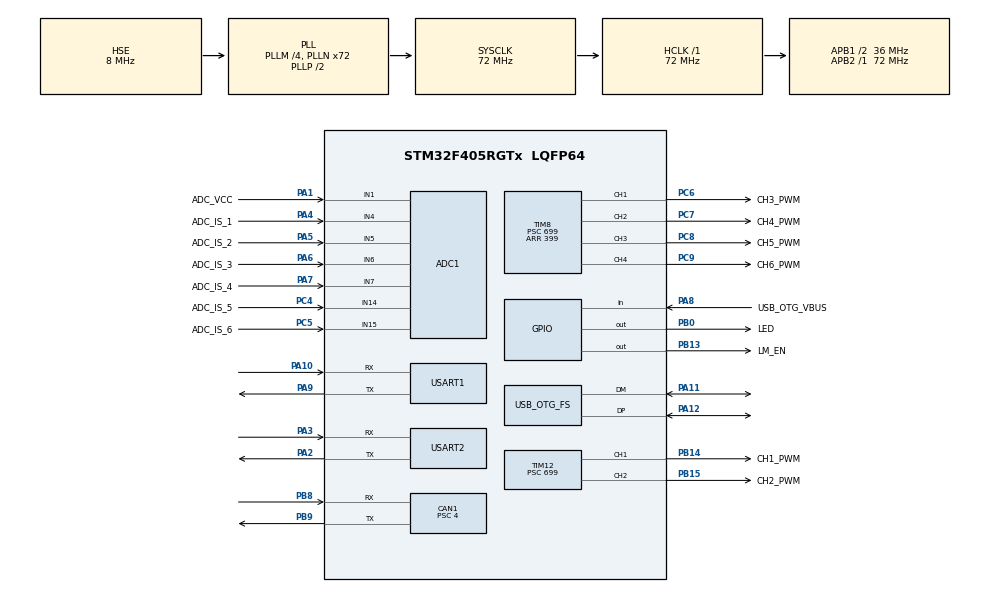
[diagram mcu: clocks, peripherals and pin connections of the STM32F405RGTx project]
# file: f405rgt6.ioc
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ADC1.Channel-10\#ChannelRegularConversion=ADC_CHANNEL_VREFINT
ADC1.Channel-2\#ChannelRegularConversion=ADC_CHANNEL_1
ADC1.Channel-3\#ChannelRegularConversion=ADC_CHANNEL_4
ADC1.Channel-4\#ChannelRegularConversion=ADC_CHANNEL_5
ADC1.Channel-5\#ChannelRegularConversion=ADC_CHANNEL_6
ADC1.Channel-6\#ChannelRegularConversion=ADC_CHANNEL_7
ADC1.Channel-7\#ChannelRegularConversion=ADC_CHANNEL_14
ADC1.Channel-8\#ChannelRegularConversion=ADC_CHANNEL_15
ADC1.Channel-9\#ChannelRegularConversion=ADC_CHANNEL_TEMPSENSOR
ADC1.DMAContinuousRequests=ENABLE
ADC1.EOCSelection=ADC_EOC_SEQ_CONV
ADC1.ExternalTrigConv=ADC_EXTERNALTRIGCONV_T3_TRGO
ADC1.NbrOfConversion=9
ADC1.NbrOfConversionFlag=1
ADC1.Rank-10\#ChannelRegularConversion=9
ADC1.Rank-2\#ChannelRegularConversion=1
ADC1.Rank-3\#ChannelRegularConversion=2
ADC1.Rank-4\#ChannelRegularConversion=3
ADC1.Rank-5\#ChannelRegularConversion=4
ADC1.Rank-6\#ChannelRegularConversion=5
ADC1.Rank-7\#ChannelRegularConversion=6
ADC1.Rank-8\#ChannelRegularConversion=7
ADC1.Rank-9\#ChannelRegularConversion=8
ADC1.SamplingTime-10\#ChannelRegularConversion=ADC_SAMPLETIME_15CYCLES
ADC1.SamplingTime-2\#ChannelRegularConversion=ADC_SAMPLETIME_15CYCLES
ADC1.SamplingTime-3\#ChannelRegularConversion=ADC_SAMPLETIME_15CYCLES
ADC1.SamplingTime-4\#ChannelRegularConversion=ADC_SAMPLETIME_15CYCLES
ADC1.SamplingTime-5\#ChannelRegularConversion=ADC_SAMPLETIME_15CYCLES
ADC1.SamplingTime-6\#ChannelRegularConversion=ADC_SAMPLETIME_15CYCLES
ADC1.SamplingTime-7\#ChannelRegularConversion=ADC_SAMPLETIME_15CYCLES
ADC1.SamplingTime-8\#ChannelRegularConversion=ADC_SAMPLETIME_15CYCLES
ADC1.SamplingTime-9\#ChannelRegularConversion=ADC_SAMPLETIME_15CYCLES
ADC1.ScanConvMode=ENABLE
ADC1.master=1
CAN1.ABOM=ENABLE
CAN1.AWUM=ENABLE
CAN1.BS1=CAN_BS1_14TQ
CAN1.BS2=CAN_BS2_3TQ
CAN1.CalculateBaudRate=500000
CAN1.CalculateTimeBit=2000
CAN1.CalculateTimeQuantum=111.11111111111111
CAN1.Mode=CAN_MODE_SILENT
CAN1.Prescaler=4
CAN1.SJW=CAN_SJW_1TQ
Dma.ADC1.0.Direction=DMA_PERIPH_TO_MEMORY
Dma.ADC1.0.FIFOMode=DMA_FIFOMODE_DISABLE
Dma.ADC1.0.Instance=DMA2_Stream0
Dma.ADC1.0.MemDataAlignment=DMA_MDATAALIGN_HALFWORD
Dma.ADC1.0.MemInc=DMA_MINC_ENABLE
Dma.ADC1.0.Mode=DMA_CIRCULAR
Dma.ADC1.0.PeriphDataAlignment=DMA_PDATAALIGN_HALFWORD
Dma.ADC1.0.PeriphInc=DMA_PINC_DISABLE
Dma.ADC1.0.Priority=DMA_PRIORITY_LOW
Dma.Request0=ADC1
IWDG.Prescaler=IWDG_PRESCALER_32
IWDG.Reload=100
Mcu.Family=STM32F4
Mcu.Name=STM32F405RGTx
Mcu.Package=LQFP64
NVIC.CAN1_RX0_IRQn=true\:0\:0\:false\:false\:true\:true\:true\:true
NVIC.DMA2_Stream0_IRQn=true\:0\:0\:false\:false\:true\:false\:true\:true
NVIC.OTG_FS_IRQn=true\:0\:0\:false\:false\:true\:false\:true\:true
NVIC.PriorityGroup=NVIC_PRIORITYGROUP_4
NVIC.TIM2_IRQn=true\:0\:0\:false\:false\:true\:true\:true\:true
NVIC.TIM3_IRQn=true\:0\:0\:false\:false\:true\:true\:true\:true
NimaLTD.I-CUBE-EE.3.2.2.EE_MANUAL_CONFIG=true
NimaLTD.I-CUBE-EE.3.2.2.EE_SELECTED_ADDRESS=0x080C0000
NimaLTD.I-CUBE-EE.3.2.2.EE_SELECTED_PAGE_SECTOR_SIZE=EE_PAGE_SECTOR_SIZE_128K
PA1.GPIO_Label=ADC_VCC
PA1.Signal=ADCx_IN1
PA10.Mode=Asynchronous
PA10.Signal=USART1_RX
PA11.Mode=Device_Only
PA11.Signal=USB_OTG_FS_DM
PA12.Mode=Device_Only
PA12.Signal=USB_OTG_FS_DP
PA13.Mode=Trace_Asynchronous_SW
PA13.Signal=SYS_JTMS-SWDIO
PA14.Mode=Trace_Asynchronous_SW
PA14.Signal=SYS_JTCK-SWCLK
PA2.Mode=Asynchronous
PA2.Signal=USART2_TX
PA3.Mode=Asynchronous
PA3.Signal=USART2_RX
PA4.GPIO_Label=ADC_IS_1
PA4.Signal=ADCx_IN4
PA5.GPIO_Label=ADC_IS_2
PA5.Signal=ADCx_IN5
PA6.GPIO_Label=ADC_IS_3
PA6.Signal=ADCx_IN6
PA7.GPIO_Label=ADC_IS_4
PA7.Signal=ADCx_IN7
PA8.GPIO_Label=USB_OTG_VBUS
PA8.Signal=GPIO_Input
PA9.Mode=Asynchronous
PA9.Signal=USART1_TX
PB0.GPIO_Label=LED
PB0.Signal=GPIO_Output
PB13.GPIO_Label=LM_EN
PB13.Signal=GPIO_Output
PB14.GPIO_Label=CH1_PWM
PB14.Signal=S_TIM12_CH1
PB15.GPIO_Label=CH2_PWM
PB15.Signal=S_TIM12_CH2
PB3.Mode=Trace_Asynchronous_SW
PB3.Signal=SYS_JTDO-SWO
PB8.Mode=CAN_Activate
PB8.Signal=CAN1_RX
PB9.Mode=CAN_Activate
PB9.Signal=CAN1_TX
PC4.GPIO_Label=ADC_IS_5
PC4.Signal=ADCx_IN14
PC5.GPIO_Label=ADC_IS_6
PC5.Signal=ADCx_IN15
PC6.GPIO_Label=CH3_PWM
PC6.GPIO_PuPd=GPIO_NOPULL
PC6.Signal=S_TIM8_CH1
PC7.GPIO_Label=CH4_PWM
PC7.Signal=S_TIM8_CH2
PC8.GPIO_Label=CH5_PWM
PC8.Signal=S_TIM8_CH3
PC9.GPIO_Label=CH6_PWM
PC9.Signal=S_TIM8_CH4
PH0-OSC_IN.Mode=HSE-External-Oscillator
PH0-OSC_IN.Signal=RCC_OSC_IN
PH1-OSC_OUT.Mode=HSE-External-Oscillator
PH1-OSC_OUT.Signal=RCC_OSC_OUT
ProjectManager.HeapSize=0x200
ProjectManager.StackSize=0x400
ProjectManager.TargetToolchain=STM32CubeIDE
RCC.48MHZClocksFreq_Value=48000000
RCC.AHBFreq_Value=72000000
RCC.APB1CLKDivider=RCC_HCLK_DIV2
RCC.APB1Freq_Value=36000000
RCC.APB1TimFreq_Value=72000000
RCC.APB2Freq_Value=72000000
RCC.APB2TimFreq_Value=72000000
RCC.CortexFreq_Value=72000000
RCC.HCLKFreq_Value=72000000
RCC.HSE_VALUE=8000000
RCC.HSI_VALUE=16000000
RCC.LSE_VALUE=32768
RCC.PLLM=4
RCC.PLLN=72
RCC.PLLQ=3
RCC.SYSCLKFreq_VALUE=72000000
RCC.SYSCLKSource=RCC_SYSCLKSOURCE_PLLCLK
RCC.VCOOutputFreq_Value=144000000
SH.ADCx_IN1.0=ADC1_IN1,IN1
SH.ADCx_IN14.0=ADC1_IN14,IN14
SH.ADCx_IN15.0=ADC1_IN15,IN15
SH.ADCx_IN4.0=ADC1_IN4,IN4
SH.ADCx_IN5.0=ADC1_IN5,IN5
SH.ADCx_IN6.0=ADC1_IN6,IN6
SH.ADCx_IN7.0=ADC1_IN7,IN7
SH.S_TIM12_CH1.0=TIM12_CH1,PWM Generation1 CH1
SH.S_TIM12_CH2.0=TIM12_CH2,PWM Generation2 CH2
SH.S_TIM8_CH1.0=TIM8_CH1,PWM Generation1 CH1
SH.S_TIM8_CH2.0=TIM8_CH2,PWM Generation2 CH2
SH.S_TIM8_CH3.0=TIM8_CH3,PWM Generation3 CH3
SH.S_TIM8_CH4.0=TIM8_CH4,PWM Generation4 CH4
TIM12.Channel-PWM\ Generation1\ CH1=TIM_CHANNEL_1
TIM12.Channel-PWM\ Generation2\ CH2=TIM_CHANNEL_2
TIM12.Period=399
TIM12.Prescaler=699
TIM2.Period=1999
TIM2.Prescaler=35999
TIM3.Period=199
TIM3.Prescaler=359
TIM3.TIM_MasterOutputTrigger=TIM_TRGO_UPDATE
TIM3.TIM_MasterSlaveMode=TIM_MASTERSLAVEMODE_DISABLE
TIM8.Channel-PWM\ Generation1\ CH1=TIM_CHANNEL_1
TIM8.Channel-PWM\ Generation2\ CH2=TIM_CHANNEL_2
TIM8.Channel-PWM\ Generation3\ CH3=TIM_CHANNEL_3
TIM8.Channel-PWM\ Generation4\ CH4=TIM_CHANNEL_4
TIM8.Period=399
TIM8.Prescaler=699
USART1.VirtualMode=VM_ASYNC
USART2.VirtualMode=VM_ASYNC
USB_DEVICE.CLASS_NAME_FS=CDC
USB_DEVICE.VirtualMode-CDC_FS=Cdc
USB_DEVICE.VirtualModeFS=Cdc_FS
USB_OTG_FS.VirtualMode=Device_Only
VP_ADC1_TempSens_Input.Mode=IN-TempSens
VP_ADC1_Vref_Input.Mode=IN-Vrefint
VP_IWDG_VS_IWDG.Mode=IWDG_Activate
VP_TIM12_VS_ClockSourceINT.Mode=Internal
VP_TIM2_VS_ClockSourceINT.Mode=Internal
VP_TIM3_VS_ClockSourceINT.Mode=Internal
VP_TIM8_VS_ClockSourceINT.Mode=Internal
VP_USB_DEVICE_VS_USB_DEVICE_CDC_FS.Mode=CDC_FS
board=custom

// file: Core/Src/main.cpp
/* USER CODE BEGIN Header */
/**
  ******************************************************************************
  * @file           : main.c
  * @brief          : Main program body
  ******************************************************************************
  * @attention
  *
  * Copyright (c) 2025 STMicroelectronics.
  * All rights reserved.
  *
  * This software is licensed under terms that can be found in the LICENSE file
  * in the root directory of this software component.
  * If no LICENSE file comes with this software, it is provided AS-IS.
  *
  ******************************************************************************
  */
/* USER CODE END Header */
#include "main.h"
#include "usb_device.h"

/* USER CODE BEGIN Includes */

extern "C"
{
#ifdef __cplusplus
#include "header.h"
#endif
}
#include "settings.h"
#include "outputch.h"
#include "status.h"
#include "canHandler.h"

#include "usbd_cdc_if.h"
#include <string.h>
#include "stm32f4xx_hal.h"
#include "stm32f4xx_hal_can.h"

/* USER CODE END Includes */

/* USER CODE BEGIN PD */
#define RX_LENGHT 			512 				//все равно надо вручную прописать в usbd_cdc_if.h
//#define BYTES_AR_SIZE 		338					//размер передаваемой строки в байтах
#define FILTER				2					// = (filtered * FILTER + new_val)/ (FILTER + 1)
#define ADC_CHANNEL_COUNT 	9
#define VCC_COEFF			461
#define VREF_CAL *VREFINT_CAL_ADDR
/* USER CODE END PD */

ADC_HandleTypeDef hadc1;
DMA_HandleTypeDef hdma_adc1;

CAN_HandleTypeDef hcan1;

IWDG_HandleTypeDef hiwdg;

TIM_HandleTypeDef htim2;
TIM_HandleTypeDef htim3;
TIM_HandleTypeDef htim8;
TIM_HandleTypeDef htim12;

UART_HandleTypeDef huart1;
UART_HandleTypeDef huart2;

/* USER CODE BEGIN PV */
CAN_RxHeaderTypeDef rxCanHeader;
uint8_t rxCanData[8] = {0,};
uint8_t rxData[RX_LENGHT];			//данные с ком-порта;
uint16_t rxIndex = 0;				//указатель на элемент массива rxData для побайтового вычитывания из буфера ком-порта
Param param;
uint16_t 	secFromStart = 0,
			updTimer = 0;
uint32_t	msFromStart = 0;
uint8_t flagUpdCh = 0;

uint16_t adc_raw[ADC_CHANNEL_COUNT];        // Сырые значения из DMA
ADC_Data_t adc_filtered;					//структура с данными каналов

status currStatus;
canHandler canMsgHandler(&currStatus);

OutputCh* CH[6];					// Массив из 6 указателей на объекты OutputCh

/* USER CODE END PV */

void SystemClock_Config(void);
static void MX_GPIO_Init(void);
static void MX_DMA_Init(void);
static void MX_CAN1_Init(void);
static void MX_USART1_UART_Init(void);
static void MX_ADC1_Init(void);
static void MX_USART2_UART_Init(void);
static void MX_TIM2_Init(void);
static void MX_TIM3_Init(void);
static void MX_TIM8_Init(void);
static void MX_TIM12_Init(void);
static void MX_IWDG_Init(void);

/* USER CODE BEGIN 0 */

/**
  * @brief  Vector base address configuration. It should no longer be at the start of
  *         flash memory but moved forward because the first part of flash is
  *         reserved for the bootloader. Note that this is already done by the
  *         bootloader before starting this program. Unfortunately, function
  *         SystemInit() overwrites this change again.
  * @return none.
  */
static void VectorBase_Config(void)
{
  /* The constant array with vectors of the vector table is declared externally in the
   * c-startup code.
   */
  extern const unsigned long g_pfnVectors[];

  /* Remap the vector table to where the vector table is located for this program. */
  SCB->VTOR = (unsigned long)&g_pfnVectors[0];
}
/* USER CODE END 0 */

int main(void)
{
  /* USER CODE BEGIN 1 */
  /* Configure the vector table base address. */
  VectorBase_Config();
  __HAL_DBGMCU_FREEZE_IWDG();

  OutputCh CH0(GPIOB,  14, &htim12, &currStatus, 0);
  OutputCh CH1(GPIOB,  15, &htim12, &currStatus, 1);
  OutputCh CH2(GPIOC,  6, &htim8, &currStatus, 2);
  OutputCh CH3(GPIOC,  7, &htim8, &currStatus, 3);
  OutputCh CH4(GPIOC,  8, &htim8, &currStatus, 4);
  OutputCh CH5(GPIOC,  9, &htim8, &currStatus, 5);
  CH[0] = &CH0;
  CH[1] = &CH1;
  CH[2] = &CH2;
  CH[3] = &CH3;
  CH[4] = &CH4;
  CH[5] = &CH5;
  /* USER CODE END 1 */

  /* MCU Configuration--------------------------------------------------------*/

  /* Reset of all peripherals, Initializes the Flash interface and the Systick. */
  HAL_Init();

  /* Configure the system clock */
  SystemClock_Config();

  /* Initialize all configured peripherals */
  MX_GPIO_Init();
  MX_DMA_Init();
  MX_CAN1_Init();
  MX_USART1_UART_Init();
  MX_ADC1_Init();
  MX_USART2_UART_Init();
  MX_USB_DEVICE_Init();
  MX_TIM2_Init();
  MX_TIM3_Init();
  MX_TIM8_Init();
  MX_TIM12_Init();
  MX_IWDG_Init();
  /* USER CODE BEGIN 2 */
  /* Initialize the user program application. */
  AppInit();

//=============================================CAN CONFIG

  CAN_FilterTypeDef canFilterConfig;
  canFilterConfig.FilterBank = 0;
  canFilterConfig.FilterMode = CAN_FILTERMODE_IDLIST;
  canFilterConfig.FilterScale = CAN_FILTERSCALE_32BIT;
  canFilterConfig.FilterIdHigh = CANFILTER_1 << 5;				//устаенавливаем фильтра на ID сообщений CAN
  canFilterConfig.FilterIdLow = 0x0000;
  canFilterConfig.FilterMaskIdHigh = CANFILTER_2 << 5;
  canFilterConfig.FilterMaskIdLow = 0x0000;
  canFilterConfig.FilterFIFOAssignment = CAN_RX_FIFO0;
  canFilterConfig.FilterActivation = ENABLE;
  HAL_CAN_ConfigFilter(&hcan1, &canFilterConfig);

  canFilterConfig.FilterBank = 1;
  canFilterConfig.FilterIdHigh = CANFILTER_3 << 5;				//устаенавливаем фильтра на ID сообщений CAN
  canFilterConfig.FilterMaskIdHigh = CANFILTER_4 << 5;
  HAL_CAN_ConfigFilter(&hcan1, &canFilterConfig);

  canFilterConfig.FilterBank = 2;
  canFilterConfig.FilterIdHigh = CANFILTER_5 << 5;				//устаенавливаем фильтра на ID сообщений CAN
  canFilterConfig.FilterMaskIdHigh = CANFILTER_6 << 5;
  HAL_CAN_ConfigFilter(&hcan1, &canFilterConfig);

  canFilterConfig.FilterBank = 3;
  canFilterConfig.FilterIdHigh = CANFILTER_7 << 5;				//устаенавливаем фильтра на ID сообщений CAN
  canFilterConfig.FilterMaskIdHigh = CANFILTER_8 << 5;
  HAL_CAN_ConfigFilter(&hcan1, &canFilterConfig);

  canFilterConfig.FilterBank = 4;
  canFilterConfig.FilterIdHigh = CANFILTER_9 << 5;				//устаенавливаем фильтра на ID сообщений CAN
  canFilterConfig.FilterMaskIdHigh = CANFILTER_10 << 5;
  HAL_CAN_ConfigFilter(&hcan1, &canFilterConfig);

  canFilterConfig.FilterBank = 5;
  canFilterConfig.FilterIdHigh = CANFILTER_11 << 5;				//устаенавливаем фильтра на ID сообщений CAN
  canFilterConfig.FilterMaskIdHigh = CANFILTER_12 << 5;
  HAL_CAN_ConfigFilter(&hcan1, &canFilterConfig);

  HAL_CAN_Start(&hcan1);
  HAL_CAN_ActivateNotification(&hcan1, CAN_IT_RX_FIFO0_MSG_PENDING | CAN_IT_RX_FIFO1_MSG_PENDING);
  //=============================================CAN CONFIG END

  HAL_TIM_Base_Start_IT(&htim2);	//прерывания каждую секунду
  HAL_TIM_Base_Start_IT(&htim3);	//прерывания каждую мс

  HAL_ADC_Start_DMA(&hadc1, (uint32_t*)adc_raw, ADC_CHANNEL_COUNT);

  TIM8->CCR1 = 0;
  TIM8->CCR2 = 0;
  TIM8->CCR3 = 0;
  TIM8->CCR4 = 0;
  TIM12->CCR1 = 0;
  TIM12->CCR2 = 0;

  HAL_TIM_PWM_Start(&htim8, TIM_CHANNEL_1);
  HAL_TIM_PWM_Start(&htim8, TIM_CHANNEL_2);
  HAL_TIM_PWM_Start(&htim8, TIM_CHANNEL_3);
  HAL_TIM_PWM_Start(&htim8, TIM_CHANNEL_4);
  HAL_TIM_PWM_Start(&htim12, TIM_CHANNEL_1);
  HAL_TIM_PWM_Start(&htim12, TIM_CHANNEL_2);

  __enable_irq();

  HAL_GPIO_WritePin(GPIOB, LED_Pin, GPIO_PIN_SET);
  HAL_Delay(500);
  HAL_GPIO_WritePin(GPIOB, LED_Pin, GPIO_PIN_RESET);

//  param.saveToFlash();
  param.readFromFlash();

  setChSettings();
  /* USER CODE END 2 */

  /* Infinite loop */
  /* USER CODE BEGIN WHILE */
  HAL_PWR_EnterSLEEPMode(PWR_LOWPOWERREGULATOR_ON, PWR_SLEEPENTRY_WFI); //загоняем МК в спячку
  while (1)
  {
//    	CH[3]->turnOnCh();
//    	CH[4]->turnOnCh();
//    	CH[5]->turnOnCh();
//    	HAL_Delay(300);
//    	CH[5]->turnOffCh();
//    	CH[4]->turnOffCh();
//    	CH[3]->turnOffCh();
//    	HAL_Delay(300);

/*=================================================MAIN==============================================================*/

    /* USER CODE END WHILE */

    /* USER CODE BEGIN 3 */
//	  BootComCheckActivationRequest();
  }
  /* USER CODE END 3 */
}

void SystemClock_Config(void)
{
  RCC_OscInitTypeDef RCC_OscInitStruct = {0};
  RCC_ClkInitTypeDef RCC_ClkInitStruct = {0};

  /** Configure the main internal regulator output voltage
  */
  __HAL_RCC_PWR_CLK_ENABLE();
  __HAL_PWR_VOLTAGESCALING_CONFIG(PWR_REGULATOR_VOLTAGE_SCALE1);

  /** Initializes the RCC Oscillators according to the specified parameters
  * in the RCC_OscInitTypeDef structure.
  */
  RCC_OscInitStruct.OscillatorType = RCC_OSCILLATORTYPE_LSI|RCC_OSCILLATORTYPE_HSE;
  RCC_OscInitStruct.HSEState = RCC_HSE_ON;
  RCC_OscInitStruct.LSIState = RCC_LSI_ON;
  RCC_OscInitStruct.PLL.PLLState = RCC_PLL_ON;
  RCC_OscInitStruct.PLL.PLLSource = RCC_PLLSOURCE_HSE;
  RCC_OscInitStruct.PLL.PLLM = 4;
  RCC_OscInitStruct.PLL.PLLN = 72;
  RCC_OscInitStruct.PLL.PLLP = RCC_PLLP_DIV2;
  RCC_OscInitStruct.PLL.PLLQ = 3;
  if (HAL_RCC_OscConfig(&RCC_OscInitStruct) != HAL_OK)
  {
    Error_Handler();
  }

  /** Initializes the CPU, AHB and APB buses clocks
  */
  RCC_ClkInitStruct.ClockType = RCC_CLOCKTYPE_HCLK|RCC_CLOCKTYPE_SYSCLK
                              |RCC_CLOCKTYPE_PCLK1|RCC_CLOCKTYPE_PCLK2;
  RCC_ClkInitStruct.SYSCLKSource = RCC_SYSCLKSOURCE_PLLCLK;
  RCC_ClkInitStruct.AHBCLKDivider = RCC_SYSCLK_DIV1;
  RCC_ClkInitStruct.APB1CLKDivider = RCC_HCLK_DIV2;
  RCC_ClkInitStruct.APB2CLKDivider = RCC_HCLK_DIV1;

  if (HAL_RCC_ClockConfig(&RCC_ClkInitStruct, FLASH_LATENCY_2) != HAL_OK)
  {
    Error_Handler();
  }
}

static void MX_ADC1_Init(void)
{

  ADC_ChannelConfTypeDef sConfig = {0};

  /** Configure the global features of the ADC (Clock, Resolution, Data Alignment and number of conversion)
  */
  hadc1.Instance = ADC1;
  hadc1.Init.ClockPrescaler = ADC_CLOCK_SYNC_PCLK_DIV2;
  hadc1.Init.Resolution = ADC_RESOLUTION_12B;
  hadc1.Init.ScanConvMode = ENABLE;
  hadc1.Init.ContinuousConvMode = DISABLE;
  hadc1.Init.DiscontinuousConvMode = DISABLE;
  hadc1.Init.ExternalTrigConvEdge = ADC_EXTERNALTRIGCONVEDGE_RISING;
  hadc1.Init.ExternalTrigConv = ADC_EXTERNALTRIGCONV_T3_TRGO;
  hadc1.Init.DataAlign = ADC_DATAALIGN_RIGHT;
  hadc1.Init.NbrOfConversion = 9;
  hadc1.Init.DMAContinuousRequests = ENABLE;
  hadc1.Init.EOCSelection = ADC_EOC_SEQ_CONV;
  if (HAL_ADC_Init(&hadc1) != HAL_OK)
  {
    Error_Handler();
  }

  /** Configure for the selected ADC regular channel its corresponding rank in the sequencer and its sample time.
  */
  sConfig.Channel = ADC_CHANNEL_1;
  sConfig.Rank = 1;
  sConfig.SamplingTime = ADC_SAMPLETIME_15CYCLES;
  if (HAL_ADC_ConfigChannel(&hadc1, &sConfig) != HAL_OK)
  {
    Error_Handler();
  }

  /** Configure for the selected ADC regular channel its corresponding rank in the sequencer and its sample time.
  */
  sConfig.Channel = ADC_CHANNEL_4;
  sConfig.Rank = 2;
  if (HAL_ADC_ConfigChannel(&hadc1, &sConfig) != HAL_OK)
  {
    Error_Handler();
  }

  /** Configure for the selected ADC regular channel its corresponding rank in the sequencer and its sample time.
  */
  sConfig.Channel = ADC_CHANNEL_5;
  sConfig.Rank = 3;
  if (HAL_ADC_ConfigChannel(&hadc1, &sConfig) != HAL_OK)
  {
    Error_Handler();
  }

  /** Configure for the selected ADC regular channel its corresponding rank in the sequencer and its sample time.
  */
  sConfig.Channel = ADC_CHANNEL_6;
  sConfig.Rank = 4;
  if (HAL_ADC_ConfigChannel(&hadc1, &sConfig) != HAL_OK)
  {
    Error_Handler();
  }

  /** Configure for the selected ADC regular channel its corresponding rank in the sequencer and its sample time.
  */
  sConfig.Channel = ADC_CHANNEL_7;
  sConfig.Rank = 5;
  if (HAL_ADC_ConfigChannel(&hadc1, &sConfig) != HAL_OK)
  {
    Error_Handler();
  }

  /** Configure for the selected ADC regular channel its corresponding rank in the sequencer and its sample time.
  */
  sConfig.Channel = ADC_CHANNEL_14;
  sConfig.Rank = 6;
  if (HAL_ADC_ConfigChannel(&hadc1, &sConfig) != HAL_OK)
  {
    Error_Handler();
  }

  /** Configure for the selected ADC regular channel its corresponding rank in the sequencer and its sample time.
  */
  sConfig.Channel = ADC_CHANNEL_15;
  sConfig.Rank = 7;
  if (HAL_ADC_ConfigChannel(&hadc1, &sConfig) != HAL_OK)
  {
    Error_Handler();
  }

  /** Configure for the selected ADC regular channel its corresponding rank in the sequencer and its sample time.
  */
  sConfig.Channel = ADC_CHANNEL_TEMPSENSOR;
  sConfig.Rank = 8;
  if (HAL_ADC_ConfigChannel(&hadc1, &sConfig) != HAL_OK)
  {
    Error_Handler();
  }

  /** Configure for the selected ADC regular channel its corresponding rank in the sequencer and its sample time.
  */
  sConfig.Channel = ADC_CHANNEL_VREFINT;
  sConfig.Rank = 9;
  if (HAL_ADC_ConfigChannel(&hadc1, &sConfig) != HAL_OK)
  {
    Error_Handler();
  }

}

static void MX_CAN1_Init(void)
{

  /* USER CODE BEGIN CAN1_Init 0 */
	CAN_FilterTypeDef sFilterConfig; //хотя бы 1 фильтр должен быть, иначе не заведется
  /* USER CODE END CAN1_Init 0 */

  hcan1.Instance = CAN1;
  hcan1.Init.Prescaler = 4;
  hcan1.Init.Mode = CAN_MODE_SILENT;
  hcan1.Init.SyncJumpWidth = CAN_SJW_1TQ;
  hcan1.Init.TimeSeg1 = CAN_BS1_14TQ;
  hcan1.Init.TimeSeg2 = CAN_BS2_3TQ;
  hcan1.Init.TimeTriggeredMode = DISABLE;
  hcan1.Init.AutoBusOff = ENABLE;
  hcan1.Init.AutoWakeUp = ENABLE;
  hcan1.Init.AutoRetransmission = DISABLE;
  hcan1.Init.ReceiveFifoLocked = DISABLE;
  hcan1.Init.TransmitFifoPriority = DISABLE;
  if (HAL_CAN_Init(&hcan1) != HAL_OK)
  {
    Error_Handler();
  }
  /* USER CODE BEGIN CAN1_Init 2 */
  /*
   * параметры фильтра, настроенные на прием любого сообщ-я
   */
  sFilterConfig.FilterBank = 0;
  sFilterConfig.FilterMode = CAN_FILTERMODE_IDLIST;
  sFilterConfig.FilterScale = CAN_FILTERSCALE_32BIT;
  sFilterConfig.FilterIdHigh = CANFILTER_1 << 5;
  sFilterConfig.FilterIdLow = 0x0000;
  sFilterConfig.FilterMaskIdHigh = CANFILTER_2 << 5;
  sFilterConfig.FilterMaskIdLow = 0x0000;
  sFilterConfig.FilterFIFOAssignment = CAN_RX_FIFO0;
  sFilterConfig.FilterActivation = ENABLE;
  //sFilterConfig.SlaveStartFilterBank = 14;
  if (HAL_CAN_ConfigFilter(&hcan1, &sFilterConfig) != HAL_OK)
  {
	  Error_Handler();
  }
  /* USER CODE END CAN1_Init 2 */

}

static void MX_IWDG_Init(void)
{

  hiwdg.Instance = IWDG;
  hiwdg.Init.Prescaler = IWDG_PRESCALER_32;
  hiwdg.Init.Reload = 100;
  if (HAL_IWDG_Init(&hiwdg) != HAL_OK)
  {
    Error_Handler();
  }

}

static void MX_TIM2_Init(void)
{

  TIM_ClockConfigTypeDef sClockSourceConfig = {0};
  TIM_MasterConfigTypeDef sMasterConfig = {0};

  htim2.Instance = TIM2;
  htim2.Init.Prescaler = 35999;
  htim2.Init.CounterMode = TIM_COUNTERMODE_UP;
  htim2.Init.Period = 1999;
  htim2.Init.ClockDivision = TIM_CLOCKDIVISION_DIV1;
  htim2.Init.AutoReloadPreload = TIM_AUTORELOAD_PRELOAD_DISABLE;
  if (HAL_TIM_Base_Init(&htim2) != HAL_OK)
  {
    Error_Handler();
  }
  sClockSourceConfig.ClockSource = TIM_CLOCKSOURCE_INTERNAL;
  if (HAL_TIM_ConfigClockSource(&htim2, &sClockSourceConfig) != HAL_OK)
  {
    Error_Handler();
  }
  sMasterConfig.MasterOutputTrigger = TIM_TRGO_RESET;
  sMasterConfig.MasterSlaveMode = TIM_MASTERSLAVEMODE_DISABLE;
  if (HAL_TIMEx_MasterConfigSynchronization(&htim2, &sMasterConfig) != HAL_OK)
  {
    Error_Handler();
  }

}

static void MX_TIM3_Init(void)
{

  TIM_ClockConfigTypeDef sClockSourceConfig = {0};
  TIM_MasterConfigTypeDef sMasterConfig = {0};

  htim3.Instance = TIM3;
  htim3.Init.Prescaler = 359;
  htim3.Init.CounterMode = TIM_COUNTERMODE_UP;
  htim3.Init.Period = 199;
  htim3.Init.ClockDivision = TIM_CLOCKDIVISION_DIV1;
  htim3.Init.AutoReloadPreload = TIM_AUTORELOAD_PRELOAD_DISABLE;
  if (HAL_TIM_Base_Init(&htim3) != HAL_OK)
  {
    Error_Handler();
  }
  sClockSourceConfig.ClockSource = TIM_CLOCKSOURCE_INTERNAL;
  if (HAL_TIM_ConfigClockSource(&htim3, &sClockSourceConfig) != HAL_OK)
  {
    Error_Handler();
  }
  sMasterConfig.MasterOutputTrigger = TIM_TRGO_UPDATE;
  sMasterConfig.MasterSlaveMode = TIM_MASTERSLAVEMODE_DISABLE;
  if (HAL_TIMEx_MasterConfigSynchronization(&htim3, &sMasterConfig) != HAL_OK)
  {
    Error_Handler();
  }

}

static void MX_TIM8_Init(void)
{

  TIM_ClockConfigTypeDef sClockSourceConfig = {0};
  TIM_MasterConfigTypeDef sMasterConfig = {0};
  TIM_OC_InitTypeDef sConfigOC = {0};
  TIM_BreakDeadTimeConfigTypeDef sBreakDeadTimeConfig = {0};

  htim8.Instance = TIM8;
  htim8.Init.Prescaler = 699;
  htim8.Init.CounterMode = TIM_COUNTERMODE_UP;
  htim8.Init.Period = 399;
  htim8.Init.ClockDivision = TIM_CLOCKDIVISION_DIV1;
  htim8.Init.RepetitionCounter = 0;
  htim8.Init.AutoReloadPreload = TIM_AUTORELOAD_PRELOAD_DISABLE;
  if (HAL_TIM_Base_Init(&htim8) != HAL_OK)
  {
    Error_Handler();
  }
  sClockSourceConfig.ClockSource = TIM_CLOCKSOURCE_INTERNAL;
  if (HAL_TIM_ConfigClockSource(&htim8, &sClockSourceConfig) != HAL_OK)
  {
    Error_Handler();
  }
  if (HAL_TIM_PWM_Init(&htim8) != HAL_OK)
  {
    Error_Handler();
  }
  sMasterConfig.MasterOutputTrigger = TIM_TRGO_RESET;
  sMasterConfig.MasterSlaveMode = TIM_MASTERSLAVEMODE_DISABLE;
  if (HAL_TIMEx_MasterConfigSynchronization(&htim8, &sMasterConfig) != HAL_OK)
  {
    Error_Handler();
  }
  sConfigOC.OCMode = TIM_OCMODE_PWM1;
  sConfigOC.Pulse = 0;
  sConfigOC.OCPolarity = TIM_OCPOLARITY_HIGH;
  sConfigOC.OCNPolarity = TIM_OCNPOLARITY_HIGH;
  sConfigOC.OCFastMode = TIM_OCFAST_DISABLE;
  sConfigOC.OCIdleState = TIM_OCIDLESTATE_RESET;
  sConfigOC.OCNIdleState = TIM_OCNIDLESTATE_RESET;
  if (HAL_TIM_PWM_ConfigChannel(&htim8, &sConfigOC, TIM_CHANNEL_1) != HAL_OK)
  {
    Error_Handler();
  }
  if (HAL_TIM_PWM_ConfigChannel(&htim8, &sConfigOC, TIM_CHANNEL_2) != HAL_OK)
  {
    Error_Handler();
  }
  if (HAL_TIM_PWM_ConfigChannel(&htim8, &sConfigOC, TIM_CHANNEL_3) != HAL_OK)
  {
    Error_Handler();
  }
  if (HAL_TIM_PWM_ConfigChannel(&htim8, &sConfigOC, TIM_CHANNEL_4) != HAL_OK)
  {
    Error_Handler();
  }
  sBreakDeadTimeConfig.OffStateRunMode = TIM_OSSR_DISABLE;
  sBreakDeadTimeConfig.OffStateIDLEMode = TIM_OSSI_DISABLE;
  sBreakDeadTimeConfig.LockLevel = TIM_LOCKLEVEL_OFF;
  sBreakDeadTimeConfig.DeadTime = 0;
  sBreakDeadTimeConfig.BreakState = TIM_BREAK_DISABLE;
  sBreakDeadTimeConfig.BreakPolarity = TIM_BREAKPOLARITY_HIGH;
  sBreakDeadTimeConfig.AutomaticOutput = TIM_AUTOMATICOUTPUT_DISABLE;
  if (HAL_TIMEx_ConfigBreakDeadTime(&htim8, &sBreakDeadTimeConfig) != HAL_OK)
  {
    Error_Handler();
  }
  HAL_TIM_MspPostInit(&htim8);

}

static void MX_TIM12_Init(void)
{

  TIM_ClockConfigTypeDef sClockSourceConfig = {0};
  TIM_OC_InitTypeDef sConfigOC = {0};

  htim12.Instance = TIM12;
  htim12.Init.Prescaler = 699;
  htim12.Init.CounterMode = TIM_COUNTERMODE_UP;
  htim12.Init.Period = 399;
  htim12.Init.ClockDivision = TIM_CLOCKDIVISION_DIV1;
  htim12.Init.AutoReloadPreload = TIM_AUTORELOAD_PRELOAD_DISABLE;
  if (HAL_TIM_Base_Init(&htim12) != HAL_OK)
  {
    Error_Handler();
  }
  sClockSourceConfig.ClockSource = TIM_CLOCKSOURCE_INTERNAL;
  if (HAL_TIM_ConfigClockSource(&htim12, &sClockSourceConfig) != HAL_OK)
  {
    Error_Handler();
  }
  if (HAL_TIM_PWM_Init(&htim12) != HAL_OK)
  {
    Error_Handler();
  }
  sConfigOC.OCMode = TIM_OCMODE_PWM1;
  sConfigOC.Pulse = 0;
  sConfigOC.OCPolarity = TIM_OCPOLARITY_HIGH;
  sConfigOC.OCFastMode = TIM_OCFAST_DISABLE;
  if (HAL_TIM_PWM_ConfigChannel(&htim12, &sConfigOC, TIM_CHANNEL_1) != HAL_OK)
  {
    Error_Handler();
  }
  if (HAL_TIM_PWM_ConfigChannel(&htim12, &sConfigOC, TIM_CHANNEL_2) != HAL_OK)
  {
    Error_Handler();
  }
  HAL_TIM_MspPostInit(&htim12);

}

static void MX_USART1_UART_Init(void)
{

  huart1.Instance = USART1;
  huart1.Init.BaudRate = 115200;
  huart1.Init.WordLength = UART_WORDLENGTH_8B;
  huart1.Init.StopBits = UART_STOPBITS_1;
  huart1.Init.Parity = UART_PARITY_NONE;
  huart1.Init.Mode = UART_MODE_TX_RX;
  huart1.Init.HwFlowCtl = UART_HWCONTROL_NONE;
  huart1.Init.OverSampling = UART_OVERSAMPLING_16;
  if (HAL_UART_Init(&huart1) != HAL_OK)
  {
    Error_Handler();
  }

}

static void MX_USART2_UART_Init(void)
{

  huart2.Instance = USART2;
  huart2.Init.BaudRate = 115200;
  huart2.Init.WordLength = UART_WORDLENGTH_8B;
  huart2.Init.StopBits = UART_STOPBITS_1;
  huart2.Init.Parity = UART_PARITY_NONE;
  huart2.Init.Mode = UART_MODE_TX_RX;
  huart2.Init.HwFlowCtl = UART_HWCONTROL_NONE;
  huart2.Init.OverSampling = UART_OVERSAMPLING_16;
  if (HAL_UART_Init(&huart2) != HAL_OK)
  {
    Error_Handler();
  }

}

static void MX_DMA_Init(void)
{

  /* DMA controller clock enable */
  __HAL_RCC_DMA2_CLK_ENABLE();

  /* DMA interrupt init */
  /* DMA2_Stream0_IRQn interrupt configuration */
  HAL_NVIC_SetPriority(DMA2_Stream0_IRQn, 0, 0);
  HAL_NVIC_EnableIRQ(DMA2_Stream0_IRQn);

}

static void MX_GPIO_Init(void)
{
  GPIO_InitTypeDef GPIO_InitStruct = {0};

  /* GPIO Ports Clock Enable */
  __HAL_RCC_GPIOH_CLK_ENABLE();
  __HAL_RCC_GPIOA_CLK_ENABLE();
  __HAL_RCC_GPIOC_CLK_ENABLE();
  __HAL_RCC_GPIOB_CLK_ENABLE();

  /*Configure GPIO pin Output Level */
  HAL_GPIO_WritePin(GPIOB, LED_Pin|LM_EN_Pin, GPIO_PIN_RESET);

  /*Configure GPIO pins : LED_Pin LM_EN_Pin */
  GPIO_InitStruct.Pin = LED_Pin|LM_EN_Pin;
  GPIO_InitStruct.Mode = GPIO_MODE_OUTPUT_PP;
  GPIO_InitStruct.Pull = GPIO_NOPULL;
  GPIO_InitStruct.Speed = GPIO_SPEED_FREQ_LOW;
  HAL_GPIO_Init(GPIOB, &GPIO_InitStruct);

  /*Configure GPIO pin : USB_OTG_VBUS_Pin */
  GPIO_InitStruct.Pin = USB_OTG_VBUS_Pin;
  GPIO_InitStruct.Mode = GPIO_MODE_INPUT;
  GPIO_InitStruct.Pull = GPIO_NOPULL;
  HAL_GPIO_Init(USB_OTG_VBUS_GPIO_Port, &GPIO_InitStruct);

}

/* USER CODE BEGIN 4 */
//================================================================TIMERS================================================================
void HAL_TIM_PeriodElapsedCallback(TIM_HandleTypeDef *htim)
{
//	__disable_irq();
	if(htim->Instance == TIM2)//каждую секунду
	{
		secFromStart++;
		HAL_GPIO_TogglePin(GPIOB, LED_Pin);
	}

	if(htim->Instance == TIM3) //каждую милисекунду
	{
		HAL_IWDG_Refresh(&hiwdg);
		processUsbCommand(); 						//обрабатываем ЮСБ

		msFromStart++;
		currStatus.updateStatusTimers();

		if (updTimer >=20)
		{
			HAL_NVIC_DisableIRQ(TIM3_IRQn);
			HAL_NVIC_DisableIRQ(TIM2_IRQn);										//TODO проверить что временное отключение таймера не приведет к ошибкам работы
			for (int i = 0; i < 6; i++)
			{
				CH[i]->updateCh();
			}
			updTimer = 0;
			HAL_NVIC_EnableIRQ(TIM3_IRQn);
			HAL_NVIC_EnableIRQ(TIM2_IRQn);										//TODO проверить что временное отключение таймера не приведет к ошибкам работы
		}
		else
		{
			updTimer++;
		}
	}
//	__enable_irq();
}

//================================================================ADC================================================================
void HAL_ADC_ConvCpltCallback(ADC_HandleTypeDef* hadc)
{
	if (hadc->Instance == ADC1)
	{
		adc_filtered.VCC      = (adc_filtered.VCC     * FILTER + (uint16_t)((float)adc_raw[0] * (float)(3300.0f / 4095.0f * 4.615f))) / (FILTER + 1);

		adc_filtered.CH0      = (adc_filtered.CH0     * FILTER + (uint16_t)((float) adc_raw[1] * (float)(3300.0f / 4095.0f * 30.30f))) / (FILTER + 1); //значения токов по каналам
		adc_filtered.CH1      = (adc_filtered.CH1     * FILTER + (uint16_t)((float) adc_raw[2] * (float)(3300.0f / 4095.0f * 30.30f))) / (FILTER + 1);
		adc_filtered.CH2      = (adc_filtered.CH2     * FILTER + (uint16_t)((float) adc_raw[3] * (float)(3300.0f / 4095.0f * 30.30f))) / (FILTER + 1);
		adc_filtered.CH3      = (adc_filtered.CH3     * FILTER + (uint16_t)((float) adc_raw[4] * (float)(3300.0f / 4095.0f * 30.30f))) / (FILTER + 1);
		adc_filtered.CH4      = (adc_filtered.CH4     * FILTER + (uint16_t)((float) adc_raw[5] * (float)(3300.0f / 4095.0f * 30.30f))) / (FILTER + 1);
		adc_filtered.CH5      = (adc_filtered.CH5     * FILTER + (uint16_t)((float) adc_raw[6] * (float)(3300.0f / 4095.0f * 30.30f))) / (FILTER + 1);

		adc_filtered.Temperature  = (adc_filtered.Temperature * FILTER + adc_raw[7]) / (FILTER + 1);
		adc_filtered.Vref         = (adc_filtered.Vref        * FILTER + (uint16_t)((float)(3300.0f * VREF_CAL) / (float)adc_raw[8])) / (FILTER + 1);
	}
}

//================================================================CAN MESSAGES RX================================================================
void HAL_CAN_RxFifo0MsgPendingCallback(CAN_HandleTypeDef *hcan1)
{
	if(HAL_CAN_GetRxMessage(hcan1, CAN_RX_FIFO0, &rxCanHeader, rxCanData) == HAL_OK)
	{

		canMsgHandler.peocessCanMessage(&rxCanHeader, rxCanData);
//		HAL_GPIO_TogglePin(GPIOB, GPIO_PIN_0);
	}
}

//void HAL_CAN_RxFifo1MsgPendingCallback(CAN_HandleTypeDef *hcan)
//{
//    if(HAL_CAN_GetRxMessage(hcan, CAN_RX_FIFO1, &rxCanHeader, rxCanData) == HAL_OK)
//    {
//        HAL_GPIO_TogglePin(GPIOB, GPIO_PIN_0);
//    }
//}

void HAL_CAN_ErrorCallback(CAN_HandleTypeDef *hcan)
{
//    uint32_t er = HAL_CAN_GetError(hcan);
//    sprintf(trans_str,"ER CAN %lu %08lX", er, er);
//    HAL_UART_Transmit(&huart1, (uint8_t*)trans_str, strlen(trans_str), 100);
}

//================================================================USB================================================================
void processUsbCommand()
{
	uint16_t bytesAvailable = CDC_GetRxBufferBytesAvailable_FS();
	if (bytesAvailable > 0)
	{
		HAL_NVIC_DisableIRQ(TIM3_IRQn);
		HAL_NVIC_DisableIRQ(TIM2_IRQn);										//TODO проверить что временное отключение таймера не приведет к ошибкам работы
		while (bytesAvailable--)
		{
			HAL_IWDG_Refresh(&hiwdg);
			uint8_t byte;
			if (CDC_ReadRxBuffer_FS(&byte, 1) != USB_CDC_RX_BUFFER_OK)
				break;
			if (rxIndex < RX_LENGHT - 1)
			{
				rxData[rxIndex++] = byte;

				// Конец команды по символу '\n' тут обрабатываем команду
				if (byte == '\n')
				{
					rxData[rxIndex] = '\0'; // Null-terminate
					handleUsbCommand((char*)rxData);
					rxIndex = 0; // Сброс для следующей команды
					for (int i = 0; i < RX_LENGHT; i++)
						rxData[i] = 0;
				}
			}
			else
			{
				// Ошибка: сообщение слишком длинное
				rxIndex = 0;
			}
		}
		HAL_NVIC_EnableIRQ(TIM3_IRQn);
		HAL_NVIC_EnableIRQ(TIM2_IRQn);
	}
}

void setChSettings()
{
	  for (int i = 0; i < 6; i++)
	    {
	  	  CH[i]->setChSettingsCh(param.getChSpec(i));
	    }

}

void handleUsbCommand(char* cmd)
{
	if (strncmp(cmd, "#GET-ParamList", 14) == 0)
	{
		// Запрос строки параметров
		static char paramString[512];
		param.composeAllParamsString(paramString);
		while (CDC_Transmit_FS((uint8_t*)paramString, strlen(paramString)) != USBD_OK);
	}
	else if (strncmp(cmd, "$", 1) == 0)
	{
		// Попытка интерпретации как строки параметров
		param.setParam(cmd);
		param.saveToFlash();
		setChSettings();

		const char ok[] = "OK\n";
		while (CDC_Transmit_FS((uint8_t*)ok, sizeof(ok) - 1) != USBD_OK);
	}
}

/* USER CODE END 4 */

void Error_Handler(void)
{
  __disable_irq();
  while (1)
  {
  }
}
